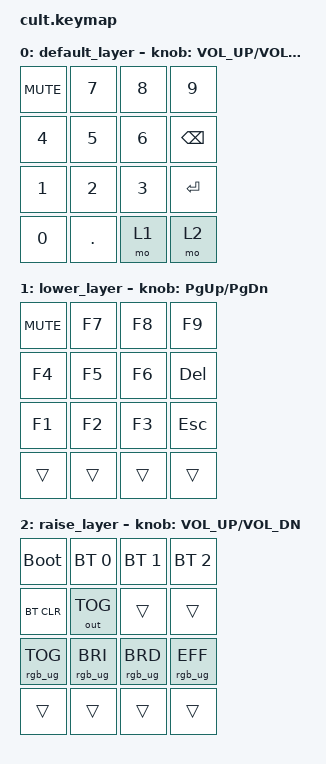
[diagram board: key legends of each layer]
#include <behaviors.dtsi>
#include <dt-bindings/zmk/keys.h>
#include <dt-bindings/zmk/bt.h>
#include <dt-bindings/zmk/rgb.h>
#include <dt-bindings/zmk/outputs.h>

/* DO NOT redefine inc_dec_kp here - it's already provided by ZMK */

/* Override LED strip chain length */
&led_strip {
    chain-length = <25>;
};

/ {
    keymap {
        compatible = "zmk,keymap";

        /* ── Layer 0 : Default ─────────────────────── */
        default_layer {
            bindings = <
                &kp C_MUTE  &kp N7   &kp N8  &kp N9
                &kp N4      &kp N5   &kp N6  &kp BSPC
                &kp N1      &kp N2   &kp N3  &kp RET
                &kp N0      &kp DOT  &mo 1   &mo 2
            >;
            sensor-bindings = <&inc_dec_kp C_VOL_UP C_VOL_DN>;
        };

        /* ── Layer 1 : Lower ───────────────────────── */
        lower_layer {
            bindings = <
                &kp C_MUTE  &kp F7  &kp F8  &kp F9
                &kp F4      &kp F5  &kp F6  &kp DEL
                &kp F1      &kp F2  &kp F3  &kp ESC
                &trans      &trans  &trans  &trans
            >;
            sensor-bindings = <&inc_dec_kp PG_UP PG_DN>;
        };

        /* ── Layer 2 : Raise ───────────────────────── */
        raise_layer {
            bindings = <
                &bootloader     &bt BT_SEL 0    &bt BT_SEL 1    &bt BT_SEL 2
                &bt BT_CLR      &out OUT_TOG    &trans          &trans
                &rgb_ug RGB_TOG &rgb_ug RGB_BRI &rgb_ug RGB_BRD &rgb_ug RGB_EFF
                &trans          &trans          &trans          &trans
            >;
            sensor-bindings = <&inc_dec_kp C_VOL_UP C_VOL_DN>;
        };
    };
};
